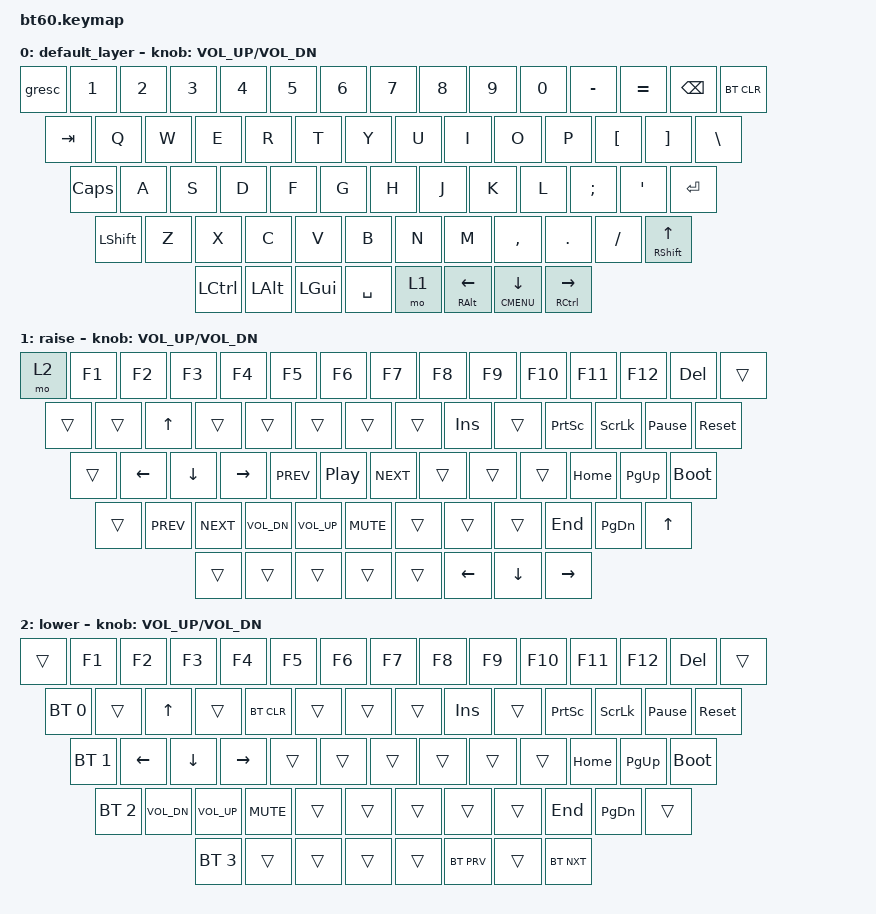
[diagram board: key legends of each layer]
#include <behaviors.dtsi>
#include <dt-bindings/zmk/keys.h>
#include <dt-bindings/zmk/bt.h>
#define default_layer 0
#define raise   1
#define lower   2

/ {
    keymap {
        compatible = "zmk,keymap";

        default_layer {
                // ------------------------------------------------------------------------------------------
                // | ESC |  1  |  2  |  3  |  4  |  5  |  6  |  7  |  8  |  9  |  0  |  -  |  =  |   BKSP   | DEL
                // | TAB  |  Q  |  W  |  E  |  R  |  T  |  Y  |  U  |  I  |  O  |  P  |  [  |  ]  |   |    |
                // | CAPS  |  A  |  S  |  D  |  F  |  G  |  H  |  J  |  K  |  L  |  ;  |  '  |     ENTER    |
                // |  SHIFT    |  Z  |  X  |  C  |  V  |  B  |  N  |  M  |  ,  |  .  | /   |      SHIFT     |
                // |  CTL  |  WIN  |  ALT  |            SPACE               | ALT | 1    |  MENU    |  CTRL    |
                // ------------------------------------------------------------------------------------------
            bindings = <
                &gresc &kp N1 &kp N2 &kp N3 &kp N4 &kp N5 &kp N6 &kp N7 &kp  N8   &kp  N9 &kp  N0  &kp MINUS &kp EQUAL &kp BSPC &bt BT_CLR
                &kp TAB  &kp Q  &kp W  &kp E  &kp R  &kp T  &kp Y  &kp U  &kp  I    &kp  O  &kp  P   &kp LBKT &kp RBKT  &kp BSLH
                &kp CLCK  &kp A  &kp S  &kp D  &kp F  &kp G  &kp H  &kp J  &kp  K    &kp  L  &kp SEMI &kp SQT           &kp RET
                &kp LSHFT  &kp Z  &kp X  &kp C  &kp V  &kp B  &kp N  &kp M  &kp COMMA &kp DOT &kp FSLH             &mt RSHFT UP
                &kp LCTRL &kp LALT &kp LGUI            &kp SPACE                           &mo 1 &mt RALT LEFT &mt K_CMENU DOWN &mt RCTRL RIGHT 
            >;
            sensor-bindings = <&inc_dec_kp C_VOL_UP C_VOL_DN>;
        };
        raise {
            bindings = <
                &mo 2 &kp F1 &kp F2 &kp F3 &kp F4 &kp F5 &kp F6 &kp F7 &kp  F8   &kp  F9 &kp  F10  &kp F11 &kp F12   &kp DEL &trans
                &trans &trans &kp UP &trans &trans &trans &trans &trans &kp INS &trans &kp PSCRN &kp SLCK &kp PAUSE_BREAK &sys_reset
                &trans    &kp LEFT &kp DOWN &kp RIGHT &kp C_PREV &kp C_PLAY_PAUSE &kp C_NEXT &trans &trans &trans &kp HOME  &kp PG_UP   &bootloader
                &trans &kp C_PREV &kp C_NEXT &kp C_VOL_DN &kp C_VOL_UP &kp C_MUTE &trans &trans &trans &kp END &kp PG_DN  &kp UP
                &trans &trans  &trans              &trans                            &trans   &kp LEFT &kp DOWN &kp RIGHT
            >;
            sensor-bindings = <&inc_dec_kp C_VOL_UP C_VOL_DN>;
        };
        lower {
            bindings = <
                &trans &kp F1 &kp F2 &kp F3 &kp F4 &kp F5 &kp F6 &kp F7 &kp  F8   &kp  F9 &kp  F10  &kp F11 &kp F12   &kp DEL &trans
                &bt BT_SEL 0 &trans &kp UP &trans &bt BT_CLR &trans &trans &trans &kp INS &trans &kp PSCRN &kp SLCK &kp PAUSE_BREAK &sys_reset
                &bt BT_SEL 1 &kp LEFT &kp DOWN &kp RIGHT &trans &trans &trans &trans &trans &trans &kp HOME  &kp PG_UP   &bootloader
                &bt BT_SEL 2 &kp C_VOL_DN &kp C_VOL_UP &kp C_MUTE &trans &trans &trans &trans &trans &kp END &kp PG_DN  &trans
                &bt BT_SEL 3 &trans  &trans              &trans                            &trans   &bt BT_PRV   &trans &bt BT_NXT
            >;
            sensor-bindings = <&inc_dec_kp C_VOL_UP C_VOL_DN>;
        };
    };
};
